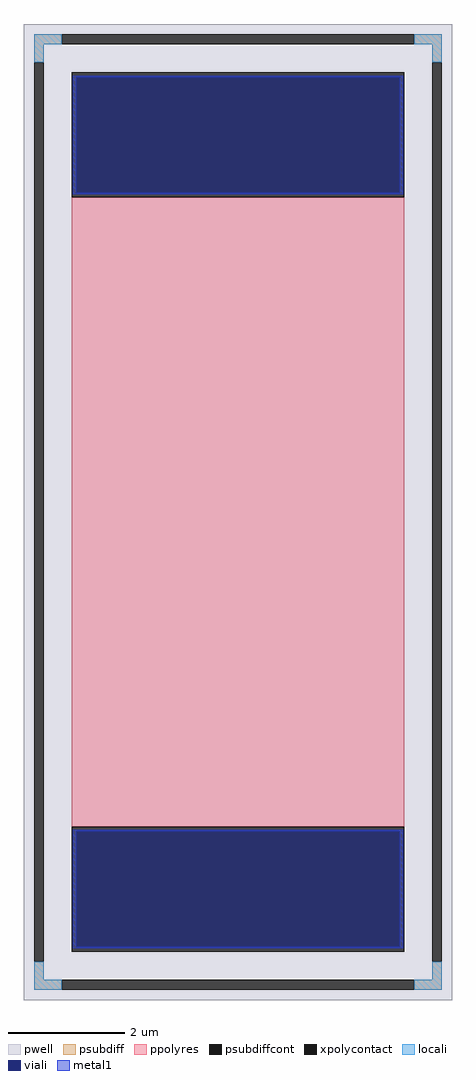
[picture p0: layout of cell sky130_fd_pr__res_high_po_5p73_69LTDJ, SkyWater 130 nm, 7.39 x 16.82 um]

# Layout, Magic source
magic
tech sky130A
magscale 1 2
<< pwell >>
rect -739 -1682 739 1682
<< psubdiff >>
rect -703 1612 -607 1646
rect 607 1612 703 1646
rect -703 1550 -669 1612
rect 669 1550 703 1612
rect -703 -1612 -669 -1550
rect 669 -1612 703 -1550
rect -703 -1646 -607 -1612
rect 607 -1646 703 -1612
<< psubdiffcont >>
rect -607 1612 607 1646
rect -703 -1550 -669 1550
rect 669 -1550 703 1550
rect -607 -1646 607 -1612
<< xpolycontact >>
rect -573 1084 573 1516
rect -573 -1516 573 -1084
<< ppolyres >>
rect -573 -1084 573 1084
<< locali >>
rect -703 1612 -607 1646
rect 607 1612 703 1646
rect -703 1550 -669 1612
rect 669 1550 703 1612
rect -703 -1612 -669 -1550
rect 669 -1612 703 -1550
rect -703 -1646 -607 -1612
rect 607 -1646 703 -1612
<< viali >>
rect -557 1101 557 1498
rect -557 -1498 557 -1101
<< metal1 >>
rect -569 1498 569 1504
rect -569 1101 -557 1498
rect 557 1101 569 1498
rect -569 1095 569 1101
rect -569 -1101 569 -1095
rect -569 -1498 -557 -1101
rect 557 -1498 569 -1101
rect -569 -1504 569 -1498
<< properties >>
string FIXED_BBOX -686 -1629 686 1629
string gencell sky130_fd_pr__res_high_po_5p73
string library sky130
string parameters w 5.730 l 11 m 1 nx 1 wmin 5.730 lmin 0.50 class resistor rho 319.8 val 681.926 dummy 0 dw 0.0 term 194.82 sterm 0.0 caplen 0 guard 1 glc 1 grc 1 gtc 1 gbc 1 compatible {sky130_fd_pr__res_high_po_0p35  sky130_fd_pr__res_high_po_0p69 sky130_fd_pr__res_high_po_1p41  sky130_fd_pr__res_high_po_2p85 sky130_fd_pr__res_high_po_5p73} snake 0 full_metal 1 wmax 5.730 n_guard 0 hv_guard 0 vias 1 viagb 0 viagt 0 viagl 0 viagr 0
<< end >>
